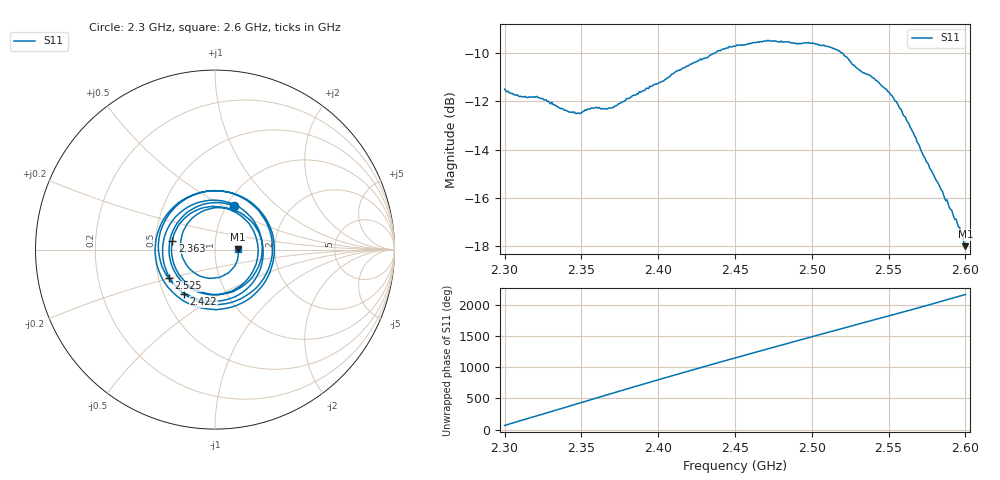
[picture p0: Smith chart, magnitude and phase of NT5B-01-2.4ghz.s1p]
! NanoVNA-App
! Date: 2026-05-25 01:51:32
! Start: 2.3GHz Stop: 2.6GHz Points: 401
! S-Parameter data: F S11
# Hz S RI R 50
!  Frequency  S11_Real  S11_Imag
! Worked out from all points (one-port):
!   401 points, 2.3 GHz to 2.6 GHz, reference 50 ohm
!   lowest |S11| = -18.0 dB at 2.6 GHz (marker M1), VSWR 1.29, Z = 64.4 + j0.414 ohm
!   |S11| at or under -10 dB: start of sweep to 2.437 GHz; 2.52 GHz to end of sweep
!   S11 on the Smith chart (normalised r, x): 2.3 GHz: 1.08, +0.57; 2.363 GHz: 0.61, +0.07; 2.422 GHz: 0.63, -0.34; 2.525 GHz: 0.56, -0.20; 2.6 GHz: 1.29, +0.01
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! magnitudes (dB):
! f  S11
! 2.3 GHz  -11.5
! 2.311 GHz  -11.8
! 2.322 GHz  -11.8
! 2.337 GHz  -12.3
! 2.348 GHz  -12.5
! 2.356 GHz  -12.3
! 2.363 GHz  -12.3
! 2.37 GHz  -12.3
! 2.375 GHz  -12.1
! 2.403 GHz  -11.2
! 2.413 GHz  -10.7
! 2.422 GHz  -10.4
! 2.44 GHz  -9.9
! 2.45 GHz  -9.7
! 2.471 GHz  -9.5
! 2.487 GHz  -9.6
! 2.499 GHz  -9.6
! 2.511 GHz  -9.7
! 2.519 GHz  -10.0
! 2.525 GHz  -10.3
! 2.539 GHz  -11.0
! 2.549 GHz  -11.5
! 2.557 GHz  -12.2
! 2.562 GHz  -12.9
! 2.573 GHz  -14.3
! 2.59 GHz  -16.4
! 2.595 GHz  -17.2
! 2.6 GHz  -18.0
